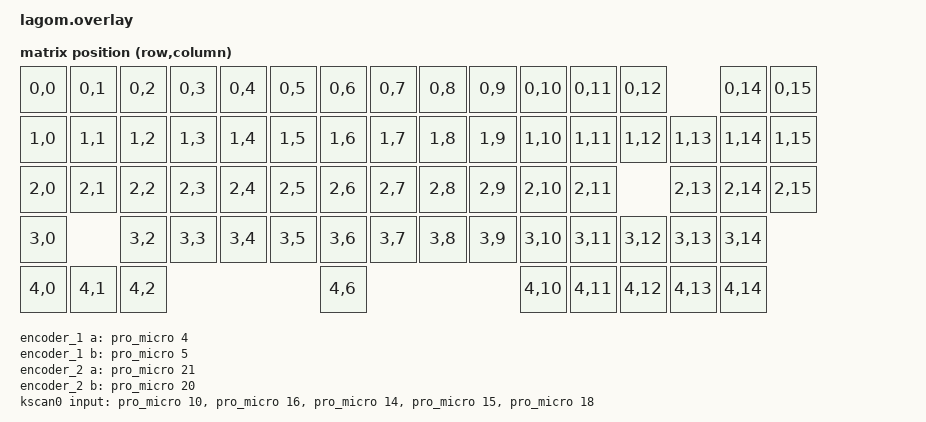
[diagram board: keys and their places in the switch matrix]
/*
 * Copyright (c) 2020 The ZMK Contributors
 *
 * SPDX-License-Identifier: MIT
 */

#include <dt-bindings/zmk/matrix_transform.h>

/ {
    chosen {
        zephyr,display = &oled;
        zmk,kscan = &kscan0;
        zmk,matrix_transform = &default_transform;
    };

    encoder_1: encoder_1 {
        compatible = "alps,ec11";
        label = "Encoder 1";
        a-gpios = <&pro_micro 4 (GPIO_ACTIVE_LOW | GPIO_PULL_UP)>;
        b-gpios = <&pro_micro 5 (GPIO_ACTIVE_LOW | GPIO_PULL_UP)>;
        resolution = <1>;
        status = "okay";
    };

    encoder_2: encoder_2 {
        compatible = "alps,ec11";
        label = "Encoder 2";
        a-gpios = <&pro_micro 21 (GPIO_ACTIVE_LOW | GPIO_PULL_UP)>;
        b-gpios = <&pro_micro 20 (GPIO_ACTIVE_LOW | GPIO_PULL_UP)>;
        resolution = <1>;
        status = "okay";
    };

    kscan0: kscan {
        compatible = "zmk,kscan-gpio-demux";
        label = "KSCAN";
        debounce-period = <4>;
        polling-interval-msec = <8>;
        input-gpios // B6, B2, B3, B1, F7 - pro micro
            = <&pro_micro 10 (GPIO_ACTIVE_LOW | GPIO_PULL_UP)> // B6
            , <&pro_micro 16 (GPIO_ACTIVE_LOW | GPIO_PULL_UP)> // B2
            , <&pro_micro 14 (GPIO_ACTIVE_LOW | GPIO_PULL_UP)> // B3
            , <&pro_micro 15 (GPIO_ACTIVE_LOW | GPIO_PULL_UP)> // B1
            , <&pro_micro 18 (GPIO_ACTIVE_LOW | GPIO_PULL_UP)> // F7
            ;
        output-gpios // D7, E6, B4, B5 lagom - pro micro
            = <&pro_micro 6 GPIO_ACTIVE_HIGH> // D7
            , <&pro_micro 7 GPIO_ACTIVE_HIGH> // E6
            , <&pro_micro 8 GPIO_ACTIVE_HIGH> // B4
            , <&pro_micro 9 GPIO_ACTIVE_HIGH> // B5
            ;
    };


    default_transform: matrix_transform {
        compatible = "zmk,matrix-transform";
        rows = <5>;
        columns = <16>;
        map = <
RC(0,0) RC(0,1) RC(0,2) RC(0,3) RC(0,4) RC(0,5) RC(0,6) RC(0,7) RC(0,8) RC(0,9) RC(0,10) RC(0,11) RC(0,12)          RC(0,14) RC(0,15)
RC(1,0) RC(1,1) RC(1,2) RC(1,3) RC(1,4) RC(1,5) RC(1,6) RC(1,7) RC(1,8) RC(1,9) RC(1,10) RC(1,11) RC(1,12) RC(1,13) RC(1,14) RC(1,15)
RC(2,0) RC(2,1) RC(2,2) RC(2,3) RC(2,4) RC(2,5) RC(2,6) RC(2,7) RC(2,8) RC(2,9) RC(2,10) RC(2,11)          RC(2,13) RC(2,14) RC(2,15)
RC(3,0)         RC(3,2) RC(3,3) RC(3,4) RC(3,5) RC(3,6) RC(3,7) RC(3,8) RC(3,9) RC(3,10) RC(3,11) RC(3,12) RC(3,13) RC(3,14) 
RC(4,0) RC(4,1) RC(4,2)                         RC(4,6)                         RC(4,10) RC(4,11) RC(4,12) RC(4,13) RC(4,14) 
        >;
    };
};

&pro_micro_i2c {
    status = "okay";

    oled: ssd1306@3c {
        compatible = "solomon,ssd1306fb";
        reg = <0x3c>;
        label = "DISPLAY";
        width = <128>;
        height = <32>;
        segment-offset = <0>;
        page-offset = <0>;
        display-offset = <0>;
        multiplex-ratio = <31>;
        com-sequential;
        prechargep = <0x22>;
    };

};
